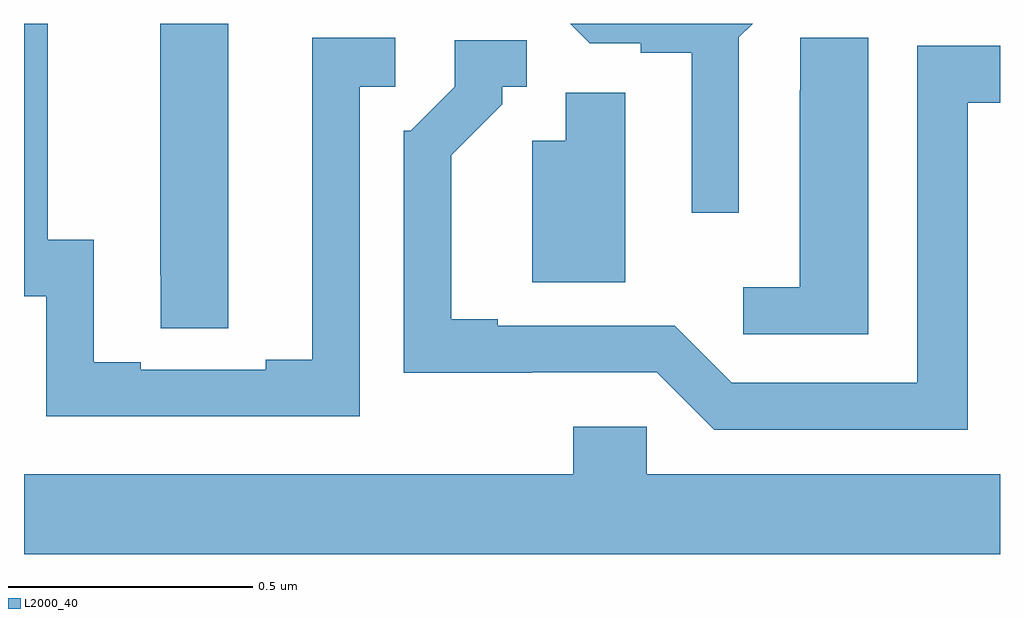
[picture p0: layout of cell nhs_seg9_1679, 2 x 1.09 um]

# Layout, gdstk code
import gdstk
lib = gdstk.Library(unit=1e-6, precision=1e-09)
def P(c, l, *ps):  # polygons
    for p in ps: c.add(gdstk.Polygon(p, *l))
L2000_40 = (2000, 40)

nhs_seg9_1679 = lib.new_cell('nhs_seg9_1679')
P(nhs_seg9_1679, L2000_40, [(131.419,1205.5),(131.279,1205.5),(131.279,1204.984),(131.28,1204.984),(131.28,1204.876),(131.419,1204.876)],
  [(132.465,1205.472),(132.493,1205.5),(132.119,1205.5),(132.159,1205.46),(132.264,1205.46),(132.264,1205.44),(132.368,1205.44),(132.368,1205.112),(132.465,1205.112)],
  [(131.688,1205.37),(131.761,1205.37),(131.761,1205.471),(131.591,1205.471),(131.591,1204.811),(131.495,1204.811),(131.495,1204.791),(131.239,1204.791),(131.239,1204.806),(131.143,1204.806),(131.143,1205.057),(131.049,1205.057),(131.049,1205.5),(131,1205.5),(131,1204.941),(131.046,1204.941),(131.046,1204.695),(131.688,1204.695)],
  [(132.73,1205.471),(132.591,1205.471),(132.591,1205.363),(132.59,1205.363),(132.59,1204.96),(132.474,1204.96),(132.474,1204.863),(132.73,1204.863)],
  [(132.934,1205.338),(133,1205.338),(133,1205.454),(132.83,1205.454),(132.83,1204.764),(132.45,1204.764),(132.333,1204.881),(131.971,1204.881),(131.971,1204.894),(131.875,1204.894),(131.875,1205.23),(131.98,1205.335),(131.98,1205.37),(132.03,1205.37),(132.03,1205.466),(131.883,1205.466),(131.883,1205.37),(131.793,1205.28),(131.778,1205.28),(131.778,1204.784),(132.041,1204.784),(132.041,1204.785),(132.297,1204.785),(132.414,1204.668),(132.934,1204.668)],
  [(132.232,1205.358),(132.11,1205.358),(132.11,1205.26),(132.041,1205.26),(132.041,1204.97),(132.232,1204.97)],
  [(133,1204.576),(132.276,1204.576),(132.276,1204.674),(132.125,1204.674),(132.125,1204.576),(131,1204.576),(131,1204.412),(133,1204.412)])

lib.write_gds('nhs_seg9_1679.gds')
